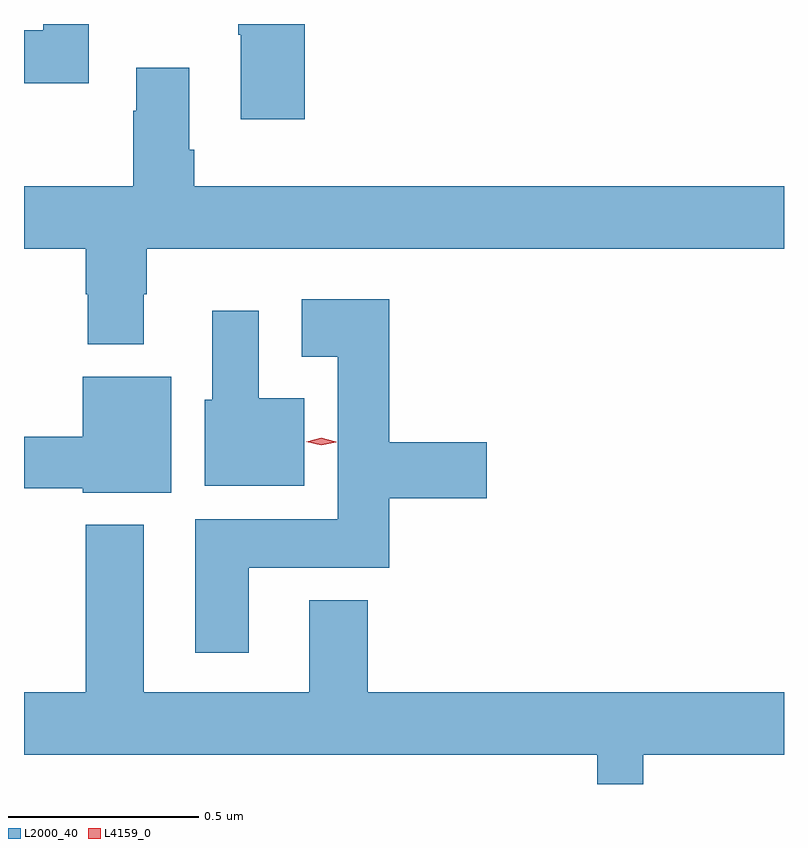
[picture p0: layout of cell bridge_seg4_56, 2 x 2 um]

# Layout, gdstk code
import gdstk
lib = gdstk.Library(unit=1e-6, precision=1e-09)
def P(c, l, *ps):  # polygons
    for p in ps: c.add(gdstk.Polygon(p, *l))
L2000_40 = (2000, 40)
L4159_0 = (4159, 0)

bridge_seg4_56 = lib.new_cell('bridge_seg4_56')
P(bridge_seg4_56, L2000_40, [(773.999,825.383),(773.824,825.383),(773.824,825.355),(773.831,825.355),(773.831,825.132),(773.999,825.132)],
  [(773.431,825.383),(773.31,825.383),(773.31,825.367),(773.26,825.367),(773.26,825.227),(773.431,825.227)],
  [(773.575,824.672),(773.583,824.672),(773.583,824.792),(775.26,824.792),(775.26,824.956),(773.708,824.956),(773.708,825.052),(773.695,825.052),(773.695,825.268),(773.555,825.268),(773.555,825.155),(773.548,825.155),(773.548,824.956),(773.26,824.956),(773.26,824.792),(773.423,824.792),(773.423,824.672),(773.428,824.672),(773.428,824.54),(773.575,824.54)],
  [(773.851,823.952),(774.221,823.952),(774.221,824.135),(774.478,824.135),(774.478,824.282),(774.221,824.282),(774.221,824.659),(773.991,824.659),(773.991,824.507),(774.086,824.507),(774.086,824.08),(773.711,824.08),(773.711,823.728),(773.851,823.728)],
  [(773.998,824.398),(773.878,824.398),(773.878,824.629),(773.756,824.629),(773.756,824.394),(773.735,824.394),(773.735,824.168),(773.998,824.168)],
  [(773.647,824.455),(773.414,824.455),(773.414,824.297),(773.26,824.297),(773.26,824.161),(773.414,824.161),(773.414,824.15),(773.647,824.15)],
  [(774.889,823.46),(775.26,823.46),(775.26,823.624),(774.164,823.624),(774.164,823.867),(774.011,823.867),(774.011,823.624),(773.575,823.624),(773.575,824.065),(773.423,824.065),(773.423,823.624),(773.26,823.624),(773.26,823.46),(774.768,823.46),(774.768,823.383),(774.889,823.383)])
P(bridge_seg4_56, L4159_0, [(774.042,824.274),(774.003,824.284),(774.003,824.284),(774.003,824.284),(774.042,824.294),(774.082,824.284),(774.082,824.283),(774.082,824.283)])

lib.write_gds('bridge_seg4_56.gds')
